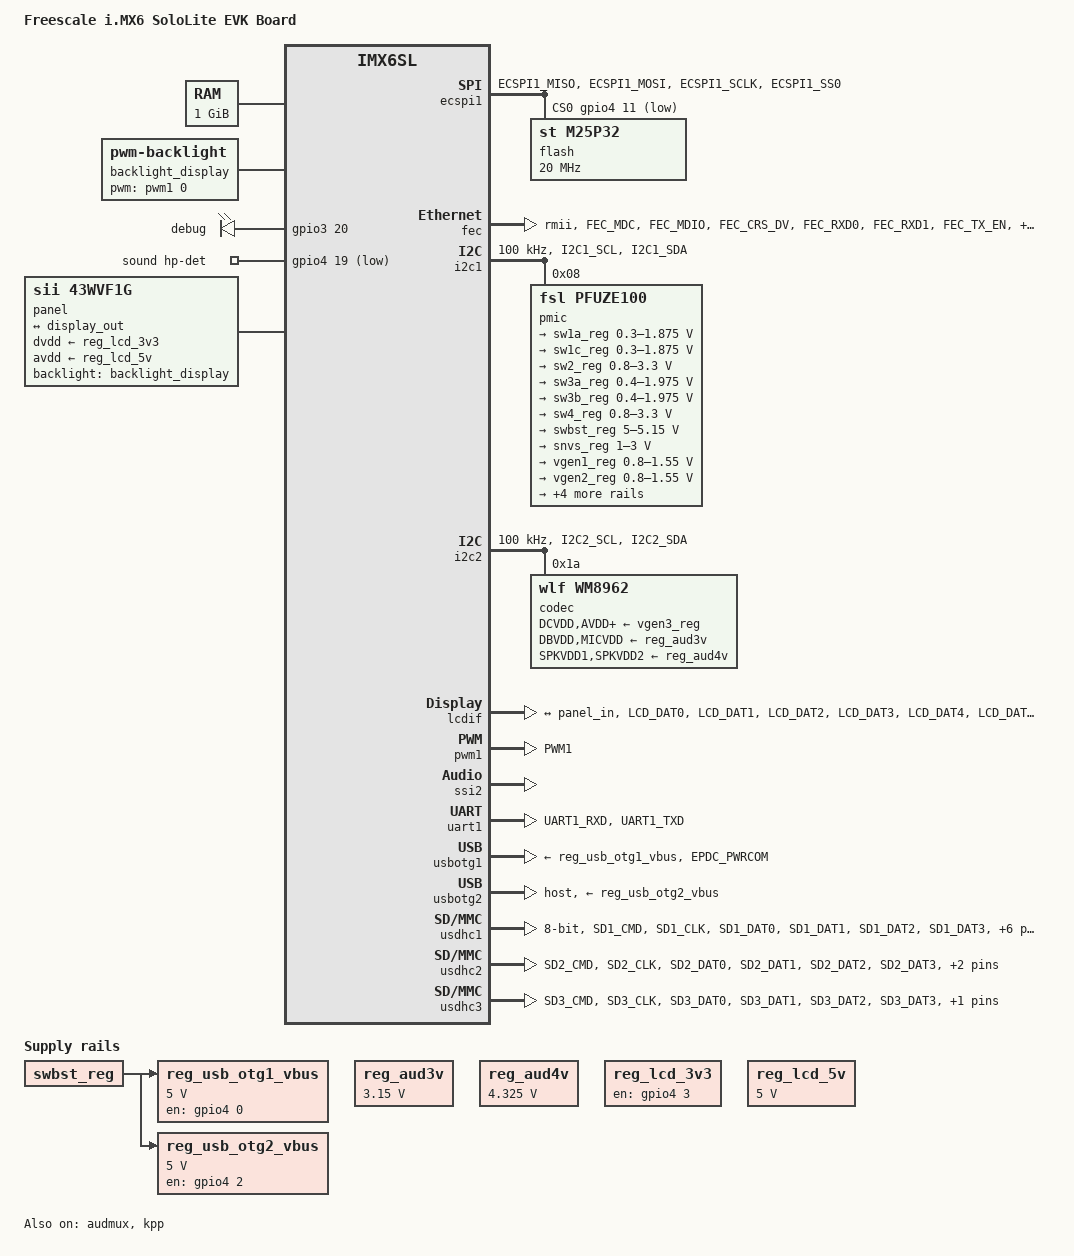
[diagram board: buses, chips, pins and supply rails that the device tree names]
// SPDX-License-Identifier: GPL-2.0
//
//Copyright (C) 2013 Freescale Semiconductor, Inc.

/dts-v1/;

#include <dt-bindings/gpio/gpio.h>
#include <dt-bindings/input/input.h>
#include "imx6sl.dtsi"

/ {
	model = "Freescale i.MX6 SoloLite EVK Board";
	compatible = "fsl,imx6sl-evk", "fsl,imx6sl";

	chosen {
		stdout-path = &uart1;
	};

	memory@80000000 {
		device_type = "memory";
		reg = <0x80000000 0x40000000>;
	};

	backlight_display: backlight_display {
		compatible = "pwm-backlight";
		pwms = <&pwm1 0 5000000 0>;
		brightness-levels = <0 4 8 16 32 64 128 255>;
		default-brightness-level = <6>;
	};

	leds {
		compatible = "gpio-leds";
		pinctrl-names = "default";
		pinctrl-0 = <&pinctrl_led>;

		led-user {
			label = "debug";
			gpios = <&gpio3 20 GPIO_ACTIVE_HIGH>;
			linux,default-trigger = "heartbeat";
		};
	};

	reg_usb_otg1_vbus: regulator-usb-otg1-vbus {
		compatible = "regulator-fixed";
		regulator-name = "usb_otg1_vbus";
		regulator-min-microvolt = <5000000>;
		regulator-max-microvolt = <5000000>;
		gpio = <&gpio4 0 GPIO_ACTIVE_HIGH>;
		enable-active-high;
		vin-supply = <&swbst_reg>;
	};

	reg_usb_otg2_vbus: regulator-usb-otg2-vbus {
		compatible = "regulator-fixed";
		regulator-name = "usb_otg2_vbus";
		regulator-min-microvolt = <5000000>;
		regulator-max-microvolt = <5000000>;
		gpio = <&gpio4 2 GPIO_ACTIVE_HIGH>;
		enable-active-high;
		vin-supply = <&swbst_reg>;
	};

	reg_aud3v: regulator-aud3v {
		compatible = "regulator-fixed";
		regulator-name = "wm8962-supply-3v15";
		regulator-min-microvolt = <3150000>;
		regulator-max-microvolt = <3150000>;
		regulator-boot-on;
	};

	reg_aud4v: regulator-aud4v {
		compatible = "regulator-fixed";
		regulator-name = "wm8962-supply-4v2";
		regulator-min-microvolt = <4325000>;
		regulator-max-microvolt = <4325000>;
		regulator-boot-on;
	};

	reg_lcd_3v3: regulator-lcd-3v3 {
		compatible = "regulator-fixed";
		pinctrl-names = "default";
		pinctrl-0 = <&pinctrl_reg_lcd_3v3>;
		regulator-name = "lcd-3v3";
		gpio = <&gpio4 3 GPIO_ACTIVE_HIGH>;
		enable-active-high;
	};

	reg_lcd_5v: regulator-lcd-5v {
		compatible = "regulator-fixed";
		regulator-name = "lcd-5v0";
		regulator-min-microvolt = <5000000>;
		regulator-max-microvolt = <5000000>;
	};

	sound {
		compatible = "fsl,imx6sl-evk-wm8962", "fsl,imx-audio-wm8962";
		pinctrl-names = "default";
		pinctrl-0 = <&pinctrl_hp>;
		model = "wm8962-audio";
		ssi-controller = <&ssi2>;
		audio-codec = <&codec>;
		audio-routing =
			"Headphone Jack", "HPOUTL",
			"Headphone Jack", "HPOUTR",
			"Ext Spk", "SPKOUTL",
			"Ext Spk", "SPKOUTR",
			"AMIC", "MICBIAS",
			"IN3R", "AMIC";
		mux-int-port = <2>;
		mux-ext-port = <3>;
		hp-det-gpio = <&gpio4 19 GPIO_ACTIVE_LOW>;
	};

	panel {
		compatible = "sii,43wvf1g";
		backlight = <&backlight_display>;
		dvdd-supply = <&reg_lcd_3v3>;
		avdd-supply = <&reg_lcd_5v>;

		port {
			panel_in: endpoint {
				remote-endpoint = <&display_out>;
			};
		};
	};
};

&audmux {
	pinctrl-names = "default";
	pinctrl-0 = <&pinctrl_audmux3>;
	status = "okay";
};

&ecspi1 {
	cs-gpios = <&gpio4 11 GPIO_ACTIVE_LOW>;
	pinctrl-names = "default";
	pinctrl-0 = <&pinctrl_ecspi1>;
	status = "okay";

	flash: flash@0 {
		#address-cells = <1>;
		#size-cells = <1>;
		compatible = "st,m25p32", "jedec,spi-nor";
		spi-max-frequency = <20000000>;
		reg = <0>;
	};
};

&fec {
	pinctrl-names = "default", "sleep";
	pinctrl-0 = <&pinctrl_fec>;
	pinctrl-1 = <&pinctrl_fec_sleep>;
	phy-mode = "rmii";
	status = "okay";
};

&i2c1 {
	clock-frequency = <100000>;
	pinctrl-names = "default";
	pinctrl-0 = <&pinctrl_i2c1>;
	status = "okay";

	pmic: pmic@8 {
		compatible = "fsl,pfuze100";
		reg = <0x08>;

		regulators {
			sw1a_reg: sw1ab {
				regulator-min-microvolt = <300000>;
				regulator-max-microvolt = <1875000>;
				regulator-boot-on;
				regulator-always-on;
				regulator-ramp-delay = <6250>;
			};

			sw1c_reg: sw1c {
				regulator-min-microvolt = <300000>;
				regulator-max-microvolt = <1875000>;
				regulator-boot-on;
				regulator-always-on;
				regulator-ramp-delay = <6250>;
			};

			sw2_reg: sw2 {
				regulator-min-microvolt = <800000>;
				regulator-max-microvolt = <3300000>;
				regulator-boot-on;
				regulator-always-on;
			};

			sw3a_reg: sw3a {
				regulator-min-microvolt = <400000>;
				regulator-max-microvolt = <1975000>;
				regulator-boot-on;
				regulator-always-on;
			};

			sw3b_reg: sw3b {
				regulator-min-microvolt = <400000>;
				regulator-max-microvolt = <1975000>;
				regulator-boot-on;
				regulator-always-on;
			};

			sw4_reg: sw4 {
				regulator-min-microvolt = <800000>;
				regulator-max-microvolt = <3300000>;
				regulator-always-on;
			};

			swbst_reg: swbst {
				regulator-min-microvolt = <5000000>;
				regulator-max-microvolt = <5150000>;
			};

			snvs_reg: vsnvs {
				regulator-min-microvolt = <1000000>;
				regulator-max-microvolt = <3000000>;
				regulator-boot-on;
				regulator-always-on;
			};

			vref_reg: vrefddr {
				regulator-boot-on;
				regulator-always-on;
			};

			vgen1_reg: vgen1 {
				regulator-min-microvolt = <800000>;
				regulator-max-microvolt = <1550000>;
				regulator-always-on;
			};

			vgen2_reg: vgen2 {
				regulator-min-microvolt = <800000>;
				regulator-max-microvolt = <1550000>;
			};

			vgen3_reg: vgen3 {
				regulator-min-microvolt = <1800000>;
				regulator-max-microvolt = <3300000>;
			};

			vgen4_reg: vgen4 {
				regulator-min-microvolt = <1800000>;
				regulator-max-microvolt = <3300000>;
				regulator-always-on;
			};

			vgen5_reg: vgen5 {
				regulator-min-microvolt = <1800000>;
				regulator-max-microvolt = <3300000>;
				regulator-always-on;
			};

			vgen6_reg: vgen6 {
				regulator-min-microvolt = <1800000>;
				regulator-max-microvolt = <3300000>;
				regulator-always-on;
			};
		};
	};
};

&i2c2 {
	clock-frequency = <100000>;
	pinctrl-names = "default";
	pinctrl-0 = <&pinctrl_i2c2>;
	status = "okay";

	codec: wm8962@1a {
		compatible = "wlf,wm8962";
		reg = <0x1a>;
		clocks = <&clks IMX6SL_CLK_EXTERN_AUDIO>;
		DCVDD-supply = <&vgen3_reg>;
		DBVDD-supply = <&reg_aud3v>;
		AVDD-supply = <&vgen3_reg>;
		CPVDD-supply = <&vgen3_reg>;
		MICVDD-supply = <&reg_aud3v>;
		PLLVDD-supply = <&vgen3_reg>;
		SPKVDD1-supply = <&reg_aud4v>;
		SPKVDD2-supply = <&reg_aud4v>;
	};
};

&iomuxc {
	pinctrl-names = "default";
	pinctrl-0 = <&pinctrl_hog>;

	imx6sl-evk {
		pinctrl_hog: hoggrp {
			fsl,pins = <
				MX6SL_PAD_KEY_ROW7__GPIO4_IO07    0x17059
				MX6SL_PAD_KEY_COL7__GPIO4_IO06    0x17059
				MX6SL_PAD_SD2_DAT7__GPIO5_IO00    0x17059
				MX6SL_PAD_SD2_DAT6__GPIO4_IO29    0x17059
				MX6SL_PAD_REF_CLK_32K__GPIO3_IO22 0x17059
				MX6SL_PAD_KEY_COL4__GPIO4_IO00	0x80000000
				MX6SL_PAD_KEY_COL5__GPIO4_IO02	0x80000000
				MX6SL_PAD_AUD_MCLK__AUDIO_CLK_OUT 0x4130b0
			>;
		};

		pinctrl_audmux3: audmux3grp {
			fsl,pins = <
				MX6SL_PAD_AUD_RXD__AUD3_RXD	  0x4130b0
				MX6SL_PAD_AUD_TXC__AUD3_TXC	  0x4130b0
				MX6SL_PAD_AUD_TXD__AUD3_TXD	  0x4110b0
				MX6SL_PAD_AUD_TXFS__AUD3_TXFS	  0x4130b0
			>;
		};

		pinctrl_ecspi1: ecspi1grp {
			fsl,pins = <
				MX6SL_PAD_ECSPI1_MISO__ECSPI1_MISO	0x100b1
				MX6SL_PAD_ECSPI1_MOSI__ECSPI1_MOSI	0x100b1
				MX6SL_PAD_ECSPI1_SCLK__ECSPI1_SCLK	0x100b1
				MX6SL_PAD_ECSPI1_SS0__GPIO4_IO11	0x80000000
			>;
		};

		pinctrl_fec: fecgrp {
			fsl,pins = <
				MX6SL_PAD_FEC_MDC__FEC_MDC		0x1b0b0
				MX6SL_PAD_FEC_MDIO__FEC_MDIO		0x1b0b0
				MX6SL_PAD_FEC_CRS_DV__FEC_RX_DV		0x1b0b0
				MX6SL_PAD_FEC_RXD0__FEC_RX_DATA0	0x1b0b0
				MX6SL_PAD_FEC_RXD1__FEC_RX_DATA1	0x1b0b0
				MX6SL_PAD_FEC_TX_EN__FEC_TX_EN		0x1b0b0
				MX6SL_PAD_FEC_TXD0__FEC_TX_DATA0	0x1b0b0
				MX6SL_PAD_FEC_TXD1__FEC_TX_DATA1	0x1b0b0
				MX6SL_PAD_FEC_REF_CLK__FEC_REF_OUT	0x4001b0a8
			>;
		};

		pinctrl_fec_sleep: fecgrp-sleep {
			fsl,pins = <
				MX6SL_PAD_FEC_MDC__GPIO4_IO23      0x3080
				MX6SL_PAD_FEC_CRS_DV__GPIO4_IO25   0x3080
				MX6SL_PAD_FEC_RXD0__GPIO4_IO17     0x3080
				MX6SL_PAD_FEC_RXD1__GPIO4_IO18     0x3080
				MX6SL_PAD_FEC_TX_EN__GPIO4_IO22    0x3080
				MX6SL_PAD_FEC_TXD0__GPIO4_IO24     0x3080
				MX6SL_PAD_FEC_TXD1__GPIO4_IO16     0x3080
				MX6SL_PAD_FEC_REF_CLK__GPIO4_IO26  0x3080
			>;
		};

		pinctrl_hp: hpgrp {
			fsl,pins = <
				MX6SL_PAD_FEC_RX_ER__GPIO4_IO19	  0x1b0b0
			>;
		};

		pinctrl_i2c1: i2c1grp {
			fsl,pins = <
				MX6SL_PAD_I2C1_SCL__I2C1_SCL	0x4001b8b1
				MX6SL_PAD_I2C1_SDA__I2C1_SDA	0x4001b8b1
			>;
		};


		pinctrl_i2c2: i2c2grp {
			fsl,pins = <
				MX6SL_PAD_I2C2_SCL__I2C2_SCL	0x4001b8b1
				MX6SL_PAD_I2C2_SDA__I2C2_SDA	0x4001b8b1
			>;
		};

		pinctrl_kpp: kppgrp {
			fsl,pins = <
				MX6SL_PAD_KEY_ROW0__KEY_ROW0    0x1b010
				MX6SL_PAD_KEY_ROW1__KEY_ROW1    0x1b010
				MX6SL_PAD_KEY_ROW2__KEY_ROW2    0x1b0b0
				MX6SL_PAD_KEY_COL0__KEY_COL0    0x110b0
				MX6SL_PAD_KEY_COL1__KEY_COL1    0x110b0
				MX6SL_PAD_KEY_COL2__KEY_COL2    0x110b0
			>;
		};

		pinctrl_lcd: lcdgrp {
			fsl,pins = <
				MX6SL_PAD_LCD_DAT0__LCD_DATA00 0x1b0b0
				MX6SL_PAD_LCD_DAT1__LCD_DATA01 0x1b0b0
				MX6SL_PAD_LCD_DAT2__LCD_DATA02 0x1b0b0
				MX6SL_PAD_LCD_DAT3__LCD_DATA03 0x1b0b0
				MX6SL_PAD_LCD_DAT4__LCD_DATA04 0x1b0b0
				MX6SL_PAD_LCD_DAT5__LCD_DATA05 0x1b0b0
				MX6SL_PAD_LCD_DAT6__LCD_DATA06 0x1b0b0
				MX6SL_PAD_LCD_DAT7__LCD_DATA07 0x1b0b0
				MX6SL_PAD_LCD_DAT8__LCD_DATA08 0x1b0b0
				MX6SL_PAD_LCD_DAT9__LCD_DATA09 0x1b0b0
				MX6SL_PAD_LCD_DAT10__LCD_DATA10 0x1b0b0
				MX6SL_PAD_LCD_DAT11__LCD_DATA11 0x1b0b0
				MX6SL_PAD_LCD_DAT12__LCD_DATA12 0x1b0b0
				MX6SL_PAD_LCD_DAT13__LCD_DATA13 0x1b0b0
				MX6SL_PAD_LCD_DAT14__LCD_DATA14 0x1b0b0
				MX6SL_PAD_LCD_DAT15__LCD_DATA15 0x1b0b0
				MX6SL_PAD_LCD_DAT16__LCD_DATA16 0x1b0b0
				MX6SL_PAD_LCD_DAT17__LCD_DATA17 0x1b0b0
				MX6SL_PAD_LCD_DAT18__LCD_DATA18 0x1b0b0
				MX6SL_PAD_LCD_DAT19__LCD_DATA19 0x1b0b0
				MX6SL_PAD_LCD_DAT20__LCD_DATA20 0x1b0b0
				MX6SL_PAD_LCD_DAT21__LCD_DATA21 0x1b0b0
				MX6SL_PAD_LCD_DAT22__LCD_DATA22 0x1b0b0
				MX6SL_PAD_LCD_DAT23__LCD_DATA23 0x1b0b0
				MX6SL_PAD_LCD_CLK__LCD_CLK 0x1b0b0
				MX6SL_PAD_LCD_ENABLE__LCD_ENABLE 0x1b0b0
				MX6SL_PAD_LCD_HSYNC__LCD_HSYNC 0x1b0b0
				MX6SL_PAD_LCD_VSYNC__LCD_VSYNC 0x1b0b0
			>;
		};

		pinctrl_led: ledgrp {
			fsl,pins = <
				MX6SL_PAD_HSIC_STROBE__GPIO3_IO20 0x17059
			>;
		};

		pinctrl_pwm1: pwmgrp {
			fsl,pins = <
				MX6SL_PAD_PWM1__PWM1_OUT 0x110b0
			>;
		};

		pinctrl_reg_lcd_3v3: reglcd3v3grp {
			fsl,pins = <
				MX6SL_PAD_KEY_ROW5__GPIO4_IO03    0x17059
			>;
		};

		pinctrl_uart1: uart1grp {
			fsl,pins = <
				MX6SL_PAD_UART1_RXD__UART1_RX_DATA	0x1b0b1
				MX6SL_PAD_UART1_TXD__UART1_TX_DATA	0x1b0b1
			>;
		};

		pinctrl_usbotg1: usbotg1grp {
			fsl,pins = <
				MX6SL_PAD_EPDC_PWRCOM__USB_OTG1_ID	0x17059
			>;
		};

		pinctrl_usdhc1: usdhc1grp {
			fsl,pins = <
				MX6SL_PAD_SD1_CMD__SD1_CMD		0x17059
				MX6SL_PAD_SD1_CLK__SD1_CLK		0x10059
				MX6SL_PAD_SD1_DAT0__SD1_DATA0		0x17059
				MX6SL_PAD_SD1_DAT1__SD1_DATA1		0x17059
				MX6SL_PAD_SD1_DAT2__SD1_DATA2		0x17059
				MX6SL_PAD_SD1_DAT3__SD1_DATA3		0x17059
				MX6SL_PAD_SD1_DAT4__SD1_DATA4		0x17059
				MX6SL_PAD_SD1_DAT5__SD1_DATA5		0x17059
				MX6SL_PAD_SD1_DAT6__SD1_DATA6		0x17059
				MX6SL_PAD_SD1_DAT7__SD1_DATA7		0x17059
			>;
		};

		pinctrl_usdhc1_100mhz: usdhc1-100mhz-grp {
			fsl,pins = <
				MX6SL_PAD_SD1_CMD__SD1_CMD		0x170b9
				MX6SL_PAD_SD1_CLK__SD1_CLK		0x100b9
				MX6SL_PAD_SD1_DAT0__SD1_DATA0		0x170b9
				MX6SL_PAD_SD1_DAT1__SD1_DATA1		0x170b9
				MX6SL_PAD_SD1_DAT2__SD1_DATA2		0x170b9
				MX6SL_PAD_SD1_DAT3__SD1_DATA3		0x170b9
				MX6SL_PAD_SD1_DAT4__SD1_DATA4		0x170b9
				MX6SL_PAD_SD1_DAT5__SD1_DATA5		0x170b9
				MX6SL_PAD_SD1_DAT6__SD1_DATA6		0x170b9
				MX6SL_PAD_SD1_DAT7__SD1_DATA7		0x170b9
			>;
		};

		pinctrl_usdhc1_200mhz: usdhc1-200mhz-grp {
			fsl,pins = <
				MX6SL_PAD_SD1_CMD__SD1_CMD		0x170f9
				MX6SL_PAD_SD1_CLK__SD1_CLK		0x100f9
				MX6SL_PAD_SD1_DAT0__SD1_DATA0		0x170f9
				MX6SL_PAD_SD1_DAT1__SD1_DATA1		0x170f9
				MX6SL_PAD_SD1_DAT2__SD1_DATA2		0x170f9
				MX6SL_PAD_SD1_DAT3__SD1_DATA3		0x170f9
				MX6SL_PAD_SD1_DAT4__SD1_DATA4		0x170f9
				MX6SL_PAD_SD1_DAT5__SD1_DATA5		0x170f9
				MX6SL_PAD_SD1_DAT6__SD1_DATA6		0x170f9
				MX6SL_PAD_SD1_DAT7__SD1_DATA7		0x170f9
			>;
		};

		pinctrl_usdhc2: usdhc2grp {
			fsl,pins = <
				MX6SL_PAD_SD2_CMD__SD2_CMD		0x17059
				MX6SL_PAD_SD2_CLK__SD2_CLK		0x10059
				MX6SL_PAD_SD2_DAT0__SD2_DATA0		0x17059
				MX6SL_PAD_SD2_DAT1__SD2_DATA1		0x17059
				MX6SL_PAD_SD2_DAT2__SD2_DATA2		0x17059
				MX6SL_PAD_SD2_DAT3__SD2_DATA3		0x17059
			>;
		};

		pinctrl_usdhc2_100mhz: usdhc2-100mhz-grp {
			fsl,pins = <
				MX6SL_PAD_SD2_CMD__SD2_CMD		0x170b9
				MX6SL_PAD_SD2_CLK__SD2_CLK		0x100b9
				MX6SL_PAD_SD2_DAT0__SD2_DATA0		0x170b9
				MX6SL_PAD_SD2_DAT1__SD2_DATA1		0x170b9
				MX6SL_PAD_SD2_DAT2__SD2_DATA2		0x170b9
				MX6SL_PAD_SD2_DAT3__SD2_DATA3		0x170b9
			>;
		};

		pinctrl_usdhc2_200mhz: usdhc2-200mhz-grp {
			fsl,pins = <
				MX6SL_PAD_SD2_CMD__SD2_CMD		0x170f9
				MX6SL_PAD_SD2_CLK__SD2_CLK		0x100f9
				MX6SL_PAD_SD2_DAT0__SD2_DATA0		0x170f9
				MX6SL_PAD_SD2_DAT1__SD2_DATA1		0x170f9
				MX6SL_PAD_SD2_DAT2__SD2_DATA2		0x170f9
				MX6SL_PAD_SD2_DAT3__SD2_DATA3		0x170f9
			>;
		};

		pinctrl_usdhc3: usdhc3grp {
			fsl,pins = <
				MX6SL_PAD_SD3_CMD__SD3_CMD		0x17059
				MX6SL_PAD_SD3_CLK__SD3_CLK		0x10059
				MX6SL_PAD_SD3_DAT0__SD3_DATA0		0x17059
				MX6SL_PAD_SD3_DAT1__SD3_DATA1		0x17059
				MX6SL_PAD_SD3_DAT2__SD3_DATA2		0x17059
				MX6SL_PAD_SD3_DAT3__SD3_DATA3		0x17059
			>;
		};

		pinctrl_usdhc3_100mhz: usdhc3-100mhz-grp {
			fsl,pins = <
				MX6SL_PAD_SD3_CMD__SD3_CMD		0x170b9
				MX6SL_PAD_SD3_CLK__SD3_CLK		0x100b9
				MX6SL_PAD_SD3_DAT0__SD3_DATA0		0x170b9
				MX6SL_PAD_SD3_DAT1__SD3_DATA1		0x170b9
				MX6SL_PAD_SD3_DAT2__SD3_DATA2		0x170b9
				MX6SL_PAD_SD3_DAT3__SD3_DATA3		0x170b9
			>;
		};

		pinctrl_usdhc3_200mhz: usdhc3-200mhz-grp {
			fsl,pins = <
				MX6SL_PAD_SD3_CMD__SD3_CMD		0x170f9
				MX6SL_PAD_SD3_CLK__SD3_CLK		0x100f9
				MX6SL_PAD_SD3_DAT0__SD3_DATA0		0x170f9
				MX6SL_PAD_SD3_DAT1__SD3_DATA1		0x170f9
				MX6SL_PAD_SD3_DAT2__SD3_DATA2		0x170f9
				MX6SL_PAD_SD3_DAT3__SD3_DATA3		0x170f9
			>;
		};
	};
};

&kpp {
	pinctrl-names = "default";
	pinctrl-0 = <&pinctrl_kpp>;
	linux,keymap = <
			MATRIX_KEY(0x0, 0x0, KEY_UP)         /* ROW0, COL0 */
			MATRIX_KEY(0x0, 0x1, KEY_DOWN)       /* ROW0, COL1 */
			MATRIX_KEY(0x0, 0x2, KEY_ENTER)      /* ROW0, COL2 */
			MATRIX_KEY(0x1, 0x0, KEY_HOME)       /* ROW1, COL0 */
			MATRIX_KEY(0x1, 0x1, KEY_RIGHT)      /* ROW1, COL1 */
			MATRIX_KEY(0x1, 0x2, KEY_LEFT)       /* ROW1, COL2 */
			MATRIX_KEY(0x2, 0x0, KEY_VOLUMEDOWN) /* ROW2, COL0 */
			MATRIX_KEY(0x2, 0x1, KEY_VOLUMEUP)   /* ROW2, COL1 */
	>;
	status = "okay";
};

&lcdif {
	pinctrl-names = "default";
	pinctrl-0 = <&pinctrl_lcd>;
	status = "okay";

	port {
		display_out: endpoint {
			remote-endpoint = <&panel_in>;
		};
	};
};

&pwm1 {
	pinctrl-names = "default";
	pinctrl-0 = <&pinctrl_pwm1>;
};

&reg_vdd1p1 {
	vin-supply = <&sw2_reg>;
};

&reg_vdd2p5 {
	vin-supply = <&sw2_reg>;
};

&snvs_poweroff {
	status = "okay";
};

&ssi2 {
	status = "okay";
};

&uart1 {
	pinctrl-names = "default";
	pinctrl-0 = <&pinctrl_uart1>;
	status = "okay";
};

&usbotg1 {
	vbus-supply = <&reg_usb_otg1_vbus>;
	pinctrl-names = "default";
	pinctrl-0 = <&pinctrl_usbotg1>;
	disable-over-current;
	status = "okay";
};

&usbotg2 {
	vbus-supply = <&reg_usb_otg2_vbus>;
	dr_mode = "host";
	disable-over-current;
	status = "okay";
};

&usdhc1 {
	pinctrl-names = "default", "state_100mhz", "state_200mhz";
	pinctrl-0 = <&pinctrl_usdhc1>;
	pinctrl-1 = <&pinctrl_usdhc1_100mhz>;
	pinctrl-2 = <&pinctrl_usdhc1_200mhz>;
	bus-width = <8>;
	cd-gpios = <&gpio4 7 GPIO_ACTIVE_LOW>;
	wp-gpios = <&gpio4 6 GPIO_ACTIVE_HIGH>;
	status = "okay";
};

&usdhc2 {
	pinctrl-names = "default", "state_100mhz", "state_200mhz";
	pinctrl-0 = <&pinctrl_usdhc2>;
	pinctrl-1 = <&pinctrl_usdhc2_100mhz>;
	pinctrl-2 = <&pinctrl_usdhc2_200mhz>;
	cd-gpios = <&gpio5 0 GPIO_ACTIVE_LOW>;
	wp-gpios = <&gpio4 29 GPIO_ACTIVE_HIGH>;
	status = "okay";
};

&usdhc3 {
	pinctrl-names = "default", "state_100mhz", "state_200mhz";
	pinctrl-0 = <&pinctrl_usdhc3>;
	pinctrl-1 = <&pinctrl_usdhc3_100mhz>;
	pinctrl-2 = <&pinctrl_usdhc3_200mhz>;
	cd-gpios = <&gpio3 22 GPIO_ACTIVE_LOW>;
	status = "okay";
};
